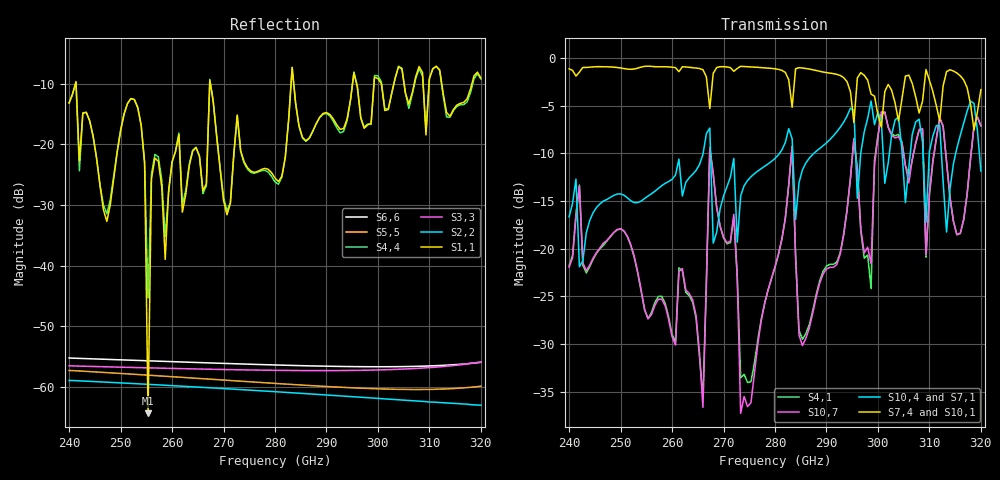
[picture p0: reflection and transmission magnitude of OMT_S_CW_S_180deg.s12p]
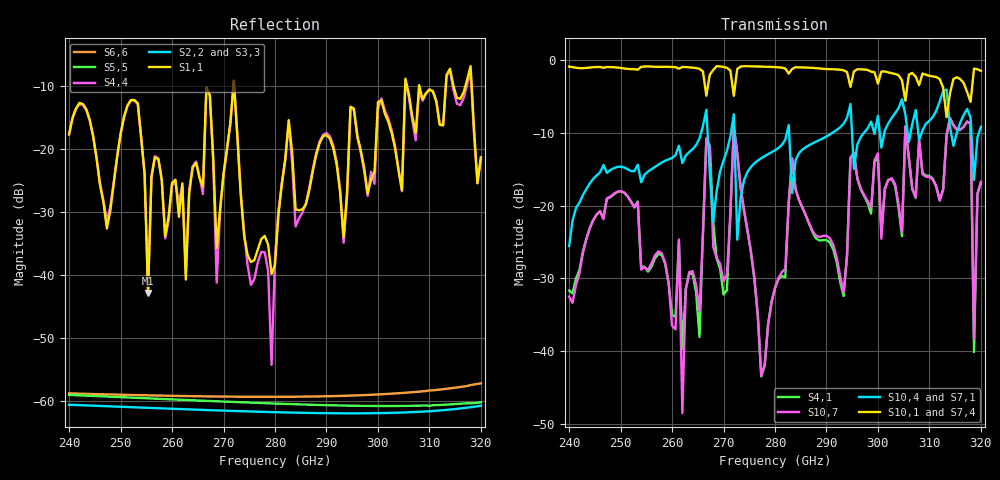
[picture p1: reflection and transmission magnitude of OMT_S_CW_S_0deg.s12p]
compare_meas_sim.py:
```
try:
    import numpy as np
    import pandas as pd
    import matplotlib.pyplot as plt
    import skrf as rf
except ImportError as e:
    print("스크립트 실행에 필요한 라이브러리가 설치되지 않았습니다.")
    print("터미널에서 아래 명령어를 실행하여 라이브러리를 설치해주세요:")
    print("pip install numpy pandas matplotlib scikit-rf")
    print(f"\n에러 상세 정보: {e}")
    input("설치를 완료한 후 Enter 키를 눌러 스크립트를 종료하세요...")
    exit()

from pathlib import Path

def read_meas_csv(filepath):
    df = pd.read_csv(filepath)
    return df['Frequency (GHz)'].values, df['Power (dBm)'].values

def db20(x, floor_db=-140.0):
    mag = np.maximum(np.abs(x), 10 ** (floor_db / 20.0))
    return 20.0 * np.log10(mag)

def main():
    # 경로 설정
    base_dir = Path(__file__).resolve().parent.parent
    data_dir = base_dir / "data" / "omt_meas_PM5"
    omt_dir = Path(__file__).resolve().parent

    # 1. Thru 측정 결과 읽기 (Reference)
    thru_file = data_dir / "new_thru_0dbm_2.csv"
    freq_thru, p_thru = read_meas_csv(thru_file)

    # Thru를 이용한 Calibration (Insertion Loss 변환 함수)
    def calibrate_meas(freq_dut, p_dut):
        p_thru_interp = np.interp(freq_dut, freq_thru, p_thru)
        return p_dut - p_thru_interp

    # ==========================================
    # [1] 180deg Setup (Simulation vs Measurement)
    # ==========================================
    # EM Simulation 읽기 (s12p)
    s12p_file = omt_dir / "OMT_S_CW_S_180deg.s12p"
    b2b_ntw = rf.Network(str(s12p_file))
    freq_sim = b2b_ntw.f / 1e9

    # S-parameter 데이터 추출 (dB 변환)
    # 12포트 EM(B2B) 기준: in=0, co=9, cross=6, RL=0, iso=3 (0-based index)
    sim_co_db = db20(b2b_ntw.s[:, 9, 0])
    sim_cross_db = db20(b2b_ntw.s[:, 6, 0])
    sim_rl_db = db20(b2b_ntw.s[:, 0, 0])
    sim_iso_db = db20(b2b_ntw.s[:, 3, 0])

    # 180deg 측정 데이터 파일
    file_1to3_180 = data_dir / "long_1TO3_180deg_1.csv"
    file_1to4_180 = data_dir / "long_1TO4_180deg_2.csv"
    file_1to2_180 = data_dir / "1to2_180deg_2.csv" # Isolation

    fig1, axes1 = plt.subplots(1, 2, figsize=(14, 5))
    fig1.suptitle("180deg Setup: EM Simulation vs Measurement", fontsize=14)

    # Co/Cross-pol Plot
    axes1[0].plot(freq_sim, sim_co_db, label='Sim Co-pol (S10,1)')
    axes1[0].plot(freq_sim, sim_cross_db, label='Sim Cross-pol (S7,1)')
    
    if file_1to3_180.exists() and file_1to4_180.exists():
        f_1to3_180, p_1to3_180 = read_meas_csv(file_1to3_180)
        f_1to4_180, p_1to4_180 = read_meas_csv(file_1to4_180)

        cal_1to3_180 = calibrate_meas(f_1to3_180, p_1to3_180)
        cal_1to4_180 = calibrate_meas(f_1to4_180, p_1to4_180)

        # 평균 Loss를 비교하여 Co-pol, Cross-pol 구분 (Loss가 더 작은 쪽이 Co-pol)
        if np.mean(cal_1to3_180) > np.mean(cal_1to4_180):
            meas_co, meas_cross = cal_1to3_180, cal_1to4_180
            label_co, label_cross = "Meas Co-pol (1TO3)", "Meas Cross-pol (1TO4)"
        else:
            meas_co, meas_cross = cal_1to4_180, cal_1to3_180
            label_co, label_cross = "Meas Co-pol (1TO4)", "Meas Cross-pol (1TO3)"

        axes1[0].plot(f_1to3_180, meas_co, '--', label=label_co)
        axes1[0].plot(f_1to4_180, meas_cross, '--', label=label_cross)

    axes1[0].set_title("Co-pol and Cross-pol")
    axes1[0].set_xlabel("Frequency (GHz)")
    axes1[0].set_ylabel("Magnitude (dB)")
    axes1[0].grid(True, alpha=0.5)
    axes1[0].legend()

    # Return Loss / Isolation Plot
    axes1[1].plot(freq_sim, sim_rl_db, label='Sim Return Loss (S1,1)')
    axes1[1].plot(freq_sim, sim_iso_db, label='Sim Isolation (S4,1)')

    if file_1to2_180.exists():
        f_1to2_180, p_1to2_180 = read_meas_csv(file_1to2_180)
        cal_1to2_180 = calibrate_meas(f_1to2_180, p_1to2_180)
        axes1[1].plot(f_1to2_180, cal_1to2_180, '--', label='Meas Isolation (1TO2)')
        
    axes1[1].set_title("Return Loss and Isolation")
    axes1[1].set_xlabel("Frequency (GHz)")
    axes1[1].set_ylabel("Magnitude (dB)")
    axes1[1].grid(True, alpha=0.5)
    axes1[1].legend()
    fig1.tight_layout()

    # ==========================================
    # [2] 0deg Setup (Simulation vs Measurement)
    # ==========================================
    # EM Simulation 읽기 (s12p)
    s12p_file_0 = omt_dir / "OMT_S_CW_S_0deg.s12p"
    b2b_ntw_0 = rf.Network(str(s12p_file_0))
    freq_sim_0 = b2b_ntw_0.f / 1e9

    sim_co_0_db = db20(b2b_ntw_0.s[:, 9, 0])
    sim_cross_0_db = db20(b2b_ntw_0.s[:, 6, 0])
    sim_rl_0_db = db20(b2b_ntw_0.s[:, 0, 0])
    sim_iso_0_db = db20(b2b_ntw_0.s[:, 3, 0])

    file_1to3_0 = data_dir / "long_1TO3_0deg_1.csv"
    file_1to4_0 = data_dir / "long_1TO4_0deg_1.csv"
    file_1to2_0 = data_dir / "long_1TO2_0deg_1.csv" # Isolation

    fig2, axes2 = plt.subplots(1, 2, figsize=(14, 5))
    fig2.suptitle("0deg Setup: EM Simulation vs Measurement", fontsize=14)

    # Co/Cross-pol Plot
    axes2[0].plot(freq_sim_0, sim_co_0_db, label='Sim Co-pol (S10,1)')
    axes2[0].plot(freq_sim_0, sim_cross_0_db, label='Sim Cross-pol (S7,1)')

    if file_1to3_0.exists() and file_1to4_0.exists():
        f_1to3_0, p_1to3_0 = read_meas_csv(file_1to3_0)
        f_1to4_0, p_1to4_0 = read_meas_csv(file_1to4_0)

        cal_1to3_0 = calibrate_meas(f_1to3_0, p_1to3_0)
        cal_1to4_0 = calibrate_meas(f_1to4_0, p_1to4_0)

        if np.mean(cal_1to3_0) > np.mean(cal_1to4_0):
            meas_co_0, meas_cross_0 = cal_1to3_0, cal_1to4_0
            label_co_0, label_cross_0 = "Meas Co-pol (1TO3)", "Meas Cross-pol (1TO4)"
        else:
            meas_co_0, meas_cross_0 = cal_1to4_0, cal_1to3_0
            label_co_0, label_cross_0 = "Meas Co-pol (1TO4)", "Meas Cross-pol (1TO3)"

        axes2[0].plot(f_1to3_0, meas_co_0, '--', label=label_co_0)
        axes2[0].plot(f_1to4_0, meas_cross_0, '--', label=label_cross_0)

    axes2[0].set_title("Co-pol and Cross-pol")
    axes2[0].set_xlabel("Frequency (GHz)")
    axes2[0].set_ylabel("Magnitude (dB)")
    axes2[0].grid(True, alpha=0.5)
    axes2[0].legend()

    # Return Loss / Isolation Plot
    axes2[1].plot(freq_sim_0, sim_rl_0_db, label='Sim Return Loss (S1,1)')
    axes2[1].plot(freq_sim_0, sim_iso_0_db, label='Sim Isolation (S4,1)')

    if file_1to2_0.exists():
        f_1to2_0, p_1to2_0 = read_meas_csv(file_1to2_0)
        cal_1to2_0 = calibrate_meas(f_1to2_0, p_1to2_0)
        axes2[1].plot(f_1to2_0, cal_1to2_0, '--', label='Meas Isolation (1TO2)')

    axes2[1].set_title("Return Loss and Isolation")
    axes2[1].set_xlabel("Frequency (GHz)")
    axes2[1].set_ylabel("Magnitude (dB)")
    axes2[1].grid(True, alpha=0.5)
    axes2[1].legend()
    fig2.tight_layout()

    # 결과 저장
    fig1.savefig(omt_dir / 'compare_180deg_sim_vs_meas.png', dpi=160)
    fig2.savefig(omt_dir / 'compare_0deg_sim_vs_meas.png', dpi=160)
    print(f"Plots saved to {omt_dir}")

    plt.show()

if __name__ == '__main__':
    main()
```
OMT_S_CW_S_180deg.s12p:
! Touchstone file exported from HFSS 2021.1.0
!  File:  D:/ANSYS/HFSS_work/cp_ant/260204_Cir_to_Rect_STEP_v3_fin.aedt
!  Generated:  8:40:42 %xC624%xD6C4  4 22, 2026
!  Design:  cir_to_rect_OMT_v13_GA7_opt_STEP_exp_QN2_S_CW_S_180deg
!  Project:  260204_Cir_to_Rect_STEP_v3_fin
!  Setup:  Setup1
!  Solution:  Sweep
! Variables:
!  diff_ws = 0.0610877997211628mm
!  fil_r = 100um
!  h1 = 0.291824400557674mm
!  h2 = 0.134mm
!  h3 = 0.176mm
!  l1 = 0.527mm
!  l2 = 0.275mm
!  l3 = 0.459mm
!  l4 = 0.313mm
!  l5 = 0.285999999999997mm
!  mov_x = 1mm
!  r_r = 6mm
!  sep_h1 = 0.775824400557674mm
!  sep_h2 = 0.484mm
!  sep_h3 = 0.35mm
!  sep_h4 = 0.174mm
!  sep_l = 1.373mm
!  sep_l1 = 1.9mm
!  sep_l2 = 2.175mm
!  sep_l3 = 2.634mm
!  sep_l4 = 2.947mm
!  sep_ll = 0.2004mm
!  sep_ll2 = 0.2505mm
!  sep_ll3 = 1mm
!  sep_w = 0.137mm
!  tr_l = 1.002mm
!  wc_d = 0.9906mm
!  wc_l = 3.8259mm
!  wg_x = 20mm
!  wr_l = 3.7156mm
!  ws_x = 0.8636mm
!  ws_x1 = 0.898mm
!  ws_x2 = 0.775824400557674mm
!  ws_x3 = 0.898mm
!  ws_y2 = 0.898mm
!  ws_z = 0
!  wsc_l = 2mm
!Data is not renormalized
! Terminal data exported
! Port[1] = rec1:1
! Port[2] = rec1:2
! Port[3] = rec1:3
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# GHz S MA
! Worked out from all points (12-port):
!   121 points, 240 GHz to 320 GHz, reference per port
!   strongest paths, dB at 240 GHz, 260 GHz, 280 GHz, 300 GHz, 320 GHz:
!     S7,4: -1.1, -1.0, -1.1, -6.0, -3.3
!     S10,1: -1.1, -1.0, -1.1, -5.7, -3.4
!     S10,4: -16.7, -12.7, -10.5, -5.6, -11.9
!     S7,1: -16.8, -12.7, -10.5, -5.7, -11.9
!     S10,7: -21.9, -29.2, -21.9, -8.3, -7.1
!     S4,1: -21.8, -29.0, -22.0, -8.1, -7.1
!   lowest |S11| = -64.3 dB at 255.3 GHz (marker M1), VSWR 1.00
!   |S11| at or under -10 dB: 241.4 GHz to 267.3 GHz (25.96 GHz wide, 10.2 % of centre); 267.4 GHz to 283.1 GHz (15.68 GHz wide, 5.7 % of centre); 283.6 GHz to 295.1 GHz (11.43 GHz wide, 3.95 % of centre)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
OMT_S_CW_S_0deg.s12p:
! Touchstone file exported from HFSS 2021.1.0
!  File:  D:/ANSYS/HFSS_work/cp_ant/260204_Cir_to_Rect_STEP_v3_fin.aedt
!  Generated:  11:02:27 %xC624%xC804  6 18, 2026
!  Design:  cir_to_rect_OMT_v13_GA7_opt_STEP_exp_QN2_S_CW_S
!  Project:  260204_Cir_to_Rect_STEP_v3_fin
!  Setup:  Setup1
!  Solution:  Sweep
! Variables:
!  diff_ws = 0.0610877997211628mm
!  fil_r = 100um
!  h1 = 0.291824400557674mm
!  h2 = 0.134mm
!  h3 = 0.176mm
!  l1 = 0.527mm
!  l2 = 0.275mm
!  l3 = 0.459mm
!  l4 = 0.313mm
!  l5 = 0.285999999999997mm
!  mov_x = 1mm
!  r_r = 6mm
!  sep_h1 = 0.775824400557674mm
!  sep_h2 = 0.484mm
!  sep_h3 = 0.35mm
!  sep_h4 = 0.174mm
!  sep_l = 1.373mm
!  sep_l1 = 1.9mm
!  sep_l2 = 2.175mm
!  sep_l3 = 2.634mm
!  sep_l4 = 2.947mm
!  sep_ll = 0.2004mm
!  sep_ll2 = 0.2505mm
!  sep_ll3 = 1mm
!  sep_w = 0.137mm
!  tr_l = 1.002mm
!  wc_d = 0.9906mm
!  wc_l = 3.8259mm
!  wg_x = 20mm
!  wr_l = 3.7156mm
!  ws_x = 0.8636mm
!  ws_x1 = 0.898mm
!  ws_x2 = 0.775824400557674mm
!  ws_x3 = 0.898mm
!  ws_y2 = 0.898mm
!  ws_z = 0
!  wsc_l = 2mm
!Data is not renormalized
! Terminal data exported
! Port[1] = rec1:1
! Port[2] = rec1:2
! Port[3] = rec1:3
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# GHz S MA
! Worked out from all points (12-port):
!   121 points, 240 GHz to 320 GHz, reference per port
!   strongest paths, dB at 240 GHz, 260 GHz, 280 GHz, 300 GHz, 320 GHz:
!     S10,1: -0.9, -0.9, -0.9, -3.2, -1.4
!     S7,4: -0.9, -0.9, -0.9, -3.1, -1.4
!     S10,4: -25.5, -13.4, -12.4, -7.6, -9.1
!     S7,1: -25.5, -13.4, -12.4, -8.0, -9.2
!     S10,7: -32.5, -36.5, -31.3, -12.8, -16.7
!     S4,1: -31.7, -35.0, -31.3, -13.6, -16.8
!   lowest |S11| = -42.9 dB at 255.3 GHz (marker M1), VSWR 1.01
!   |S11| at or under -10 dB: start of sweep to 271.9 GHz; 272.1 GHz to 305.3 GHz (33.22 GHz wide, 11.5 % of centre); 308 GHz to 313.2 GHz (5.14 GHz wide, 1.65 % of centre)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
